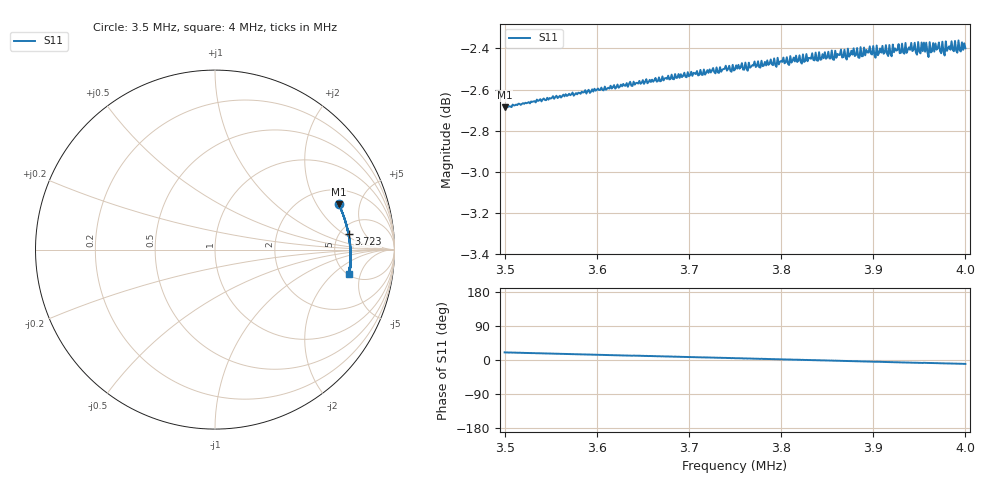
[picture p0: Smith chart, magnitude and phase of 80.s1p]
# Hz S RI R 50
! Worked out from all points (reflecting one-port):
!   401 points, 3.5 MHz to 4 MHz, reference 50 ohm
!   lowest |S11| = -2.7 dB at 3.5 MHz (marker M1), VSWR 6.52, Z = 143 + j157 ohm
!   phase of S11 starts at 20 deg and turns -30 deg over the sweep
!   S11 on the Smith chart (normalised r, x): 3.5 MHz: 2.87, +3.15; 3.723 MHz: 6.03, +2.38; 4 MHz: 5.14, -3.27
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3500000  0.6889 0.2532
3506250  0.6908 0.2489
3511250  0.6934 0.2433
3562500  0.7097 0.2046
3625000  0.7255 0.158
3687500  0.7381 0.1103
3698750  0.7411 0.1054
3710000  0.7413 0.0937
3716250  0.744 0.0918
3722500  0.7447 0.0863
3730000  0.7462 0.081
3750000  0.7471 0.0623
3812500  0.7533 0.0118
3875000  0.7548 -0.0385
3886250  0.7577 -0.0457
3895000  0.7549 -0.0542
3903750  0.7574 -0.0601
3911250  0.7533 -0.0678
3917500  0.7567 -0.0714
3923750  0.7546 -0.0773
3931250  0.7561 -0.083
3937500  0.7527 -0.0895
3942500  0.7517 -0.0931
3948750  0.755 -0.0972
3951250  0.7497 -0.1011
3955000  0.7548 -0.0975
3957500  0.7545 -0.0997
4000000  0.7465 -0.1351
